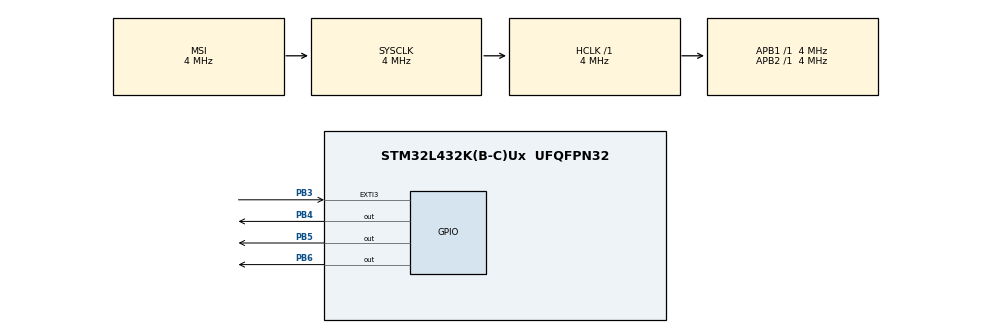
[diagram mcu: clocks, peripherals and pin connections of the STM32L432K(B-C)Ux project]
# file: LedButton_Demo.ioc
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Mcu.Family=STM32L4
RCC.MSI_VALUE=4000000
RCC.CortexFreq_Value=4000000
NVIC.EXTI3_IRQn=true\:0\:0\:false\:false\:true\:true\:true
ProjectManager.StackSize=0x400
PB3\ (JTDO-TRACESWO).Signal=GPXTI3
ProjectManager.TargetToolchain=TrueSTUDIO
RCC.HCLKFreq_Value=4000000
RCC.APB2TimFreq_Value=4000000
PB6.Signal=GPIO_Output
RCC.LSE_VALUE=32768
RCC.AHBFreq_Value=4000000
RCC.HSE_VALUE=8000000
board=custom
RCC.VCOOutputFreq_Value=32000000
RCC.APB2Freq_Value=4000000
Mcu.Name=STM32L432K(B-C)Ux
RCC.SYSCLKFreq_VALUE=4000000
PB5.Signal=GPIO_Output
Mcu.Package=UFQFPN32
ProjectManager.HeapSize=0x200
RCC.HSI_VALUE=16000000
NVIC.PriorityGroup=NVIC_PRIORITYGROUP_4
RCC.APB1TimFreq_Value=4000000
RCC.APB1Freq_Value=4000000
RCC.HSI48_VALUE=48000000
PB4\ (NJTRST).Signal=GPIO_Output

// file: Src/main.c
/* USER CODE BEGIN Header */
/**
  ******************************************************************************
  * @file           : main.c
  * @brief          : Main program body
  ******************************************************************************
  * @attention
  *
  * <h2><center>&copy; Copyright (c) 2020 STMicroelectronics.
  * All rights reserved.</center></h2>
  *
  * This software component is licensed by ST under BSD 3-Clause license,
  * the "License"; You may not use this file except in compliance with the
  * License. You may obtain a copy of the License at:
  *                        opensource.org/licenses/BSD-3-Clause
  *
  ******************************************************************************
  */
/* USER CODE END Header */

#include "main.h"

void SystemClock_Config(void);
static void MX_GPIO_Init(void);

int main(void)
{

  /* MCU Configuration--------------------------------------------------------*/

  /* Reset of all peripherals, Initializes the Flash interface and the Systick. */
  HAL_Init();

  /* Configure the system clock */
  SystemClock_Config();

  /* Initialize all configured peripherals */
  MX_GPIO_Init();

  /* Infinite loop */
  /* USER CODE BEGIN WHILE */
  while (1)
  {
	  if(HAL_GPIO_ReadPin(GPIOB,GPIO_PIN_3)) {
	  	  HAL_GPIO_WritePin(GPIOB,GPIO_PIN_4,GPIO_PIN_SET);
	  	  HAL_GPIO_WritePin(GPIOB,GPIO_PIN_6,GPIO_PIN_SET);
	  	  HAL_GPIO_WritePin(GPIOB,GPIO_PIN_5,GPIO_PIN_SET);
	  	  HAL_Delay(500);
	  	  HAL_GPIO_WritePin(GPIOB,GPIO_PIN_5,GPIO_PIN_SET);
	  	  HAL_GPIO_WritePin(GPIOB,GPIO_PIN_4,GPIO_PIN_RESET);
	  	  HAL_GPIO_WritePin(GPIOB,GPIO_PIN_6,GPIO_PIN_RESET);
	  	  HAL_Delay(500);
	  	  HAL_GPIO_WritePin(GPIOB,GPIO_PIN_5,GPIO_PIN_RESET);
	  	  HAL_GPIO_WritePin(GPIOB,GPIO_PIN_6,GPIO_PIN_SET);
	  	  HAL_GPIO_WritePin(GPIOB,GPIO_PIN_4,GPIO_PIN_SET);
	  	  HAL_Delay(500);
	  	  HAL_GPIO_WritePin(GPIOB,GPIO_PIN_6,GPIO_PIN_SET);
	  	  HAL_GPIO_WritePin(GPIOB,GPIO_PIN_4,GPIO_PIN_RESET);
	  	  HAL_GPIO_WritePin(GPIOB,GPIO_PIN_5,GPIO_PIN_SET);
	    } else {
	  	  HAL_GPIO_WritePin(GPIOB,GPIO_PIN_4,GPIO_PIN_SET);
	  	  HAL_GPIO_WritePin(GPIOB,GPIO_PIN_5,GPIO_PIN_SET);
	  	  HAL_GPIO_WritePin(GPIOB,GPIO_PIN_6,GPIO_PIN_SET);
	    }
	  HAL_Delay(500);
    /* USER CODE END WHILE */

  }
}

void SystemClock_Config(void)
{
  RCC_OscInitTypeDef RCC_OscInitStruct = {0};
  RCC_ClkInitTypeDef RCC_ClkInitStruct = {0};

  /** Initializes the CPU, AHB and APB busses clocks
  */
  RCC_OscInitStruct.OscillatorType = RCC_OSCILLATORTYPE_MSI;
  RCC_OscInitStruct.MSIState = RCC_MSI_ON;
  RCC_OscInitStruct.MSICalibrationValue = 0;
  RCC_OscInitStruct.MSIClockRange = RCC_MSIRANGE_6;
  RCC_OscInitStruct.PLL.PLLState = RCC_PLL_NONE;
  if (HAL_RCC_OscConfig(&RCC_OscInitStruct) != HAL_OK)
  {
    Error_Handler();
  }
  /** Initializes the CPU, AHB and APB busses clocks
  */
  RCC_ClkInitStruct.ClockType = RCC_CLOCKTYPE_HCLK|RCC_CLOCKTYPE_SYSCLK
                              |RCC_CLOCKTYPE_PCLK1|RCC_CLOCKTYPE_PCLK2;
  RCC_ClkInitStruct.SYSCLKSource = RCC_SYSCLKSOURCE_MSI;
  RCC_ClkInitStruct.AHBCLKDivider = RCC_SYSCLK_DIV1;
  RCC_ClkInitStruct.APB1CLKDivider = RCC_HCLK_DIV1;
  RCC_ClkInitStruct.APB2CLKDivider = RCC_HCLK_DIV1;

  if (HAL_RCC_ClockConfig(&RCC_ClkInitStruct, FLASH_LATENCY_0) != HAL_OK)
  {
    Error_Handler();
  }
  /** Configure the main internal regulator output voltage
  */
  if (HAL_PWREx_ControlVoltageScaling(PWR_REGULATOR_VOLTAGE_SCALE1) != HAL_OK)
  {
    Error_Handler();
  }
}

static void MX_GPIO_Init(void)
{
  GPIO_InitTypeDef GPIO_InitStruct = {0};

  /* GPIO Ports Clock Enable */
  __HAL_RCC_GPIOB_CLK_ENABLE();

  /*Configure GPIO pin Output Level */
  HAL_GPIO_WritePin(GPIOB, GPIO_PIN_4|GPIO_PIN_5|GPIO_PIN_6, GPIO_PIN_RESET);

  /*Configure GPIO pin : PB3 */
  GPIO_InitStruct.Pin = GPIO_PIN_3;
  GPIO_InitStruct.Mode = GPIO_MODE_IT_RISING;
  GPIO_InitStruct.Pull = GPIO_NOPULL;
  HAL_GPIO_Init(GPIOB, &GPIO_InitStruct);

  /*Configure GPIO pins : PB4 PB5 PB6 */
  GPIO_InitStruct.Pin = GPIO_PIN_4|GPIO_PIN_5|GPIO_PIN_6;
  GPIO_InitStruct.Mode = GPIO_MODE_OUTPUT_PP;
  GPIO_InitStruct.Pull = GPIO_NOPULL;
  GPIO_InitStruct.Speed = GPIO_SPEED_FREQ_LOW;
  HAL_GPIO_Init(GPIOB, &GPIO_InitStruct);

  /* EXTI interrupt init*/
  HAL_NVIC_SetPriority(EXTI3_IRQn, 0, 0);
  HAL_NVIC_EnableIRQ(EXTI3_IRQn);

}

void Error_Handler(void)
{
}

/************************ (C) COPYRIGHT STMicroelectronics *****END OF FILE****/
